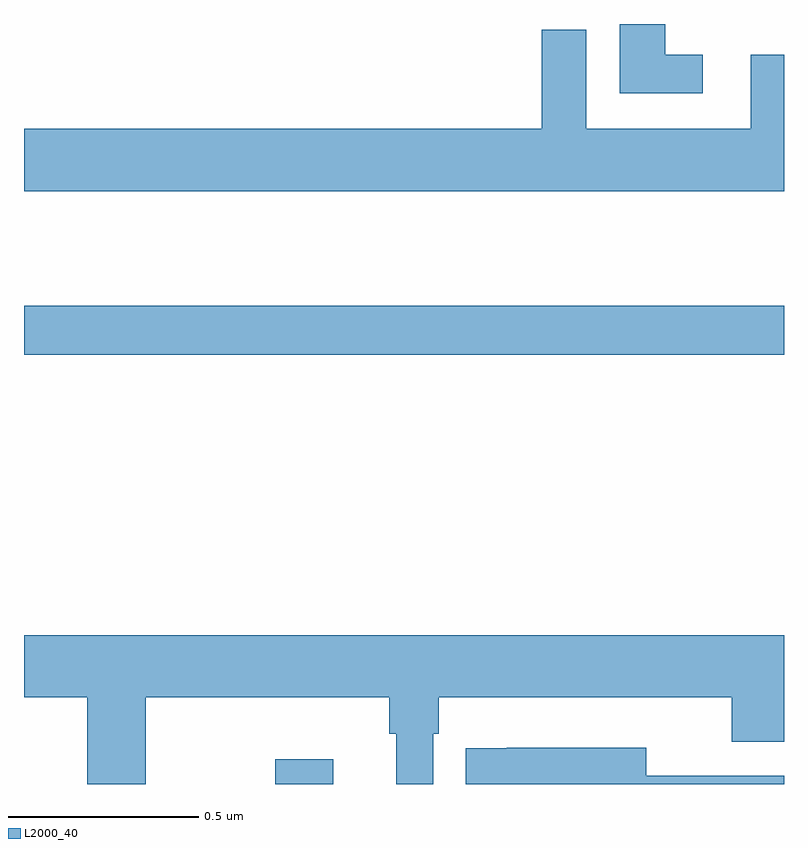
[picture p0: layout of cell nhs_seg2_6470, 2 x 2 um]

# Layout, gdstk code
import gdstk
lib = gdstk.Library(unit=1e-6, precision=1e-09)
def R(c, l, rs):  # rectangles x0, y0, x1, y1
    for r in rs: c.add(gdstk.rectangle(r[:2], r[2:], *l))
def P(c, l, *ps):  # polygons
    for p in ps: c.add(gdstk.Polygon(p, *l))
L2000_40 = (2000, 40)

nhs_seg2_6470 = lib.new_cell('nhs_seg2_6470')
R(nhs_seg2_6470, L2000_40, [(192.661,588.8,192.814,588.865), (192,589.93,194,590.059)])
P(nhs_seg2_6470, L2000_40, [(193.786,590.719),(193.687,590.719),(193.687,590.8),(193.568,590.8),(193.568,590.618),(193.786,590.618)],
  [(194,590.719),(193.913,590.719),(193.913,590.524),(193.479,590.524),(193.479,590.785),(193.363,590.785),(193.363,590.524),(192,590.524),(192,590.36),(194,590.36)],
  [(192.321,589.028),(192.961,589.028),(192.961,588.932),(192.98,588.932),(192.98,588.8),(193.077,588.8),(193.077,588.932),(193.091,588.932),(193.091,589.028),(193.862,589.028),(193.862,588.911),(194,588.911),(194,589.192),(192,589.192),(192,589.028),(192.166,589.028),(192.166,588.8),(192.321,588.8)],
  [(194,588.822),(193.638,588.822),(193.638,588.895),(193.27,588.895),(193.27,588.894),(193.162,588.894),(193.162,588.8),(194,588.8)])

lib.write_gds('nhs_seg2_6470.gds')
